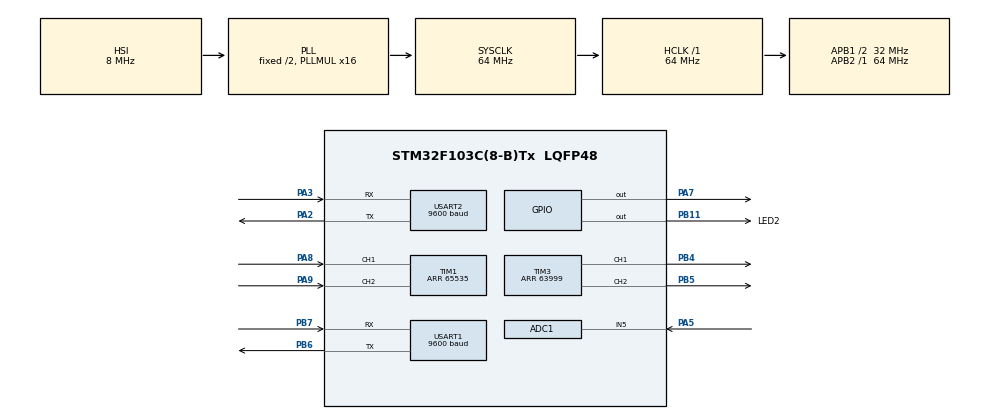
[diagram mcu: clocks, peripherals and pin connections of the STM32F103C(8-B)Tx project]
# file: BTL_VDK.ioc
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ADC1.Channel-0\#ChannelRegularConversion=ADC_CHANNEL_5
ADC1.NbrOfConversionFlag=1
ADC1.Rank-0\#ChannelRegularConversion=1
ADC1.SamplingTime-0\#ChannelRegularConversion=ADC_SAMPLETIME_1CYCLE_5
ADC1.master=1
Mcu.Family=STM32F1
Mcu.Name=STM32F103C(8-B)Tx
Mcu.Package=LQFP48
NVIC.PriorityGroup=NVIC_PRIORITYGROUP_4
NVIC.TIM1_BRK_IRQn=true\:0\:0\:false\:false\:true\:true\:true
NVIC.TIM1_CC_IRQn=true\:0\:0\:false\:false\:true\:true\:true
NVIC.TIM1_TRG_COM_IRQn=true\:0\:0\:false\:false\:true\:true\:true
NVIC.TIM1_UP_IRQn=true\:0\:0\:false\:false\:true\:true\:true
NVIC.TIM2_IRQn=true\:0\:0\:false\:false\:true\:true\:true
NVIC.TIM4_IRQn=true\:0\:0\:false\:false\:true\:true\:true
NVIC.USART2_IRQn=true\:0\:0\:false\:false\:true\:true\:true
PA13.Mode=Serial_Wire
PA13.Signal=SYS_JTMS-SWDIO
PA14.Mode=Serial_Wire
PA14.Signal=SYS_JTCK-SWCLK
PA2.Mode=Asynchronous
PA2.Signal=USART2_TX
PA3.Mode=Asynchronous
PA3.Signal=USART2_RX
PA5.Signal=ADCx_IN5
PA7.Signal=GPIO_Output
PA8.Signal=S_TIM1_CH1
PA9.Signal=S_TIM1_CH2
PB11.GPIO_Label=LED2
PB11.GPIO_PuPd=GPIO_PULLUP
PB11.Signal=GPIO_Output
PB4.Signal=S_TIM3_CH1
PB5.Signal=S_TIM3_CH2
PB6.Mode=Asynchronous
PB6.Signal=USART1_TX
PB7.Mode=Asynchronous
PB7.Signal=USART1_RX
PD0-OSC_IN.Mode=HSE-External-Oscillator
PD0-OSC_IN.Signal=RCC_OSC_IN
PD1-OSC_OUT.Mode=HSE-External-Oscillator
PD1-OSC_OUT.Signal=RCC_OSC_OUT
ProjectManager.HeapSize=0x200
ProjectManager.StackSize=0x400
ProjectManager.TargetToolchain=MDK-ARM V5
RCC.ADCPresc=RCC_ADCPCLK2_DIV8
RCC.AHBFreq_Value=64000000
RCC.APB1CLKDivider=RCC_HCLK_DIV2
RCC.APB1Freq_Value=32000000
RCC.APB1TimFreq_Value=64000000
RCC.APB2Freq_Value=64000000
RCC.APB2TimFreq_Value=64000000
RCC.HCLKFreq_Value=64000000
RCC.PLLMUL=RCC_PLL_MUL16
RCC.SYSCLKFreq_VALUE=64000000
RCC.SYSCLKSource=RCC_SYSCLKSOURCE_PLLCLK
RCC.USBFreq_Value=64000000
SH.ADCx_IN5.0=ADC1_IN5,IN5
SH.S_TIM1_CH1.0=TIM1_CH1,Encoder_Interface
SH.S_TIM1_CH2.0=TIM1_CH2,Encoder_Interface
SH.S_TIM3_CH1.0=TIM3_CH1,PWM Generation1 CH1
SH.S_TIM3_CH2.0=TIM3_CH2,PWM Generation2 CH2
TIM1.AutoReloadPreload=TIM_AUTORELOAD_PRELOAD_ENABLE
TIM1.IC1Filter=10
TIM1.IC2Filter=10
TIM1.Period=65535
TIM2.Period=63999
TIM2.Prescaler=99
TIM3.AutoReloadPreload=TIM_AUTORELOAD_PRELOAD_ENABLE
TIM3.Channel-PWM\ Generation1\ CH1=TIM_CHANNEL_1
TIM3.Channel-PWM\ Generation2\ CH2=TIM_CHANNEL_2
TIM3.Period=63999
TIM3.Pulse-PWM\ Generation1\ CH1=0
TIM3.Pulse-PWM\ Generation2\ CH2=0
TIM4.Period=63999
TIM4.Prescaler=999
USART1.BaudRate=9600
USART1.VirtualMode=VM_ASYNC
USART2.BaudRate=9600
USART2.VirtualMode=VM_ASYNC
VP_TIM2_VS_ClockSourceINT.Mode=Internal
VP_TIM3_VS_ClockSourceINT.Mode=Internal
VP_TIM4_VS_ClockSourceINT.Mode=Internal
board=custom

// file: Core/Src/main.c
/* USER CODE BEGIN Header */
/**
  ******************************************************************************
  * @file           : main.c
  * @brief          : Main program body
  ******************************************************************************
  * @attention
  *
  * <h2><center>&copy; Copyright (c) 2022 STMicroelectronics.
  * All rights reserved.</center></h2>
  *
  * This software component is licensed by ST under BSD 3-Clause license,
  * the "License"; You may not use this file except in compliance with the
  * License. You may obtain a copy of the License at:
  *                        opensource.org/licenses/BSD-3-Clause
  *
  ******************************************************************************
  */
/* USER CODE END Header */
#include "main.h"

ADC_HandleTypeDef hadc1;

TIM_HandleTypeDef htim1;
TIM_HandleTypeDef htim2;
TIM_HandleTypeDef htim3;
TIM_HandleTypeDef htim4;

UART_HandleTypeDef huart1;
UART_HandleTypeDef huart2;

void SystemClock_Config(void);
static void MX_GPIO_Init(void);
static void MX_ADC1_Init(void);
static void MX_TIM1_Init(void);
static void MX_TIM2_Init(void);
static void MX_TIM4_Init(void);
static void MX_USART1_UART_Init(void);
static void MX_USART2_UART_Init(void);
static void MX_TIM3_Init(void);

/* USER CODE BEGIN 0 */
extern LPF stLPF_Var;
extern QEI stQEI_Var;
extern QEI stQEI_Var1;
extern cPI PI_Speed,PI_Current,PI_position;
extern controller_objt controller_var;
extern adc_Objt adc_Objt_var;
extern RAMP st_RAMP_Var;
extern Uart_Obj vUart;

extern uint8_t timtick100ms,timtick1s;
/* USER CODE END 0 */

int main(void)
{

  /* MCU Configuration--------------------------------------------------------*/

  /* Reset of all peripherals, Initializes the Flash interface and the Systick. */
  HAL_Init();

  /* Configure the system clock */
  SystemClock_Config();

  /* Initialize all configured peripherals */
  MX_GPIO_Init();
  MX_ADC1_Init();
  MX_TIM1_Init();
  MX_TIM2_Init();
  MX_TIM4_Init();
  MX_USART1_UART_Init();
  MX_USART2_UART_Init();
  MX_TIM3_Init();
  /* USER CODE BEGIN 2 */

// khai bao cac bo PI
	PI_Init(&PI_Speed,0.5, 0.04,0.1,12,-12);
  PI_Init(&PI_position,5.0, 6.0,1.0,300,-300);
	Controller_Init(&controller_var);

// khai bАo bo loc thong thap
	vLPF_Init(&stLPF_Var, 10, 0.001);
	vQEI_Config(&stQEI_Var,0.1);

// khai bАo ham ramp
	vRamp_Config(&st_RAMP_Var);

// khai bao cac timer
  HAL_TIM_PWM_Start(&htim3,TIM_CHANNEL_1);
	HAL_TIM_PWM_Start(&htim3,TIM_CHANNEL_2);
	HAL_TIM_Base_Start_IT(&htim1);
  HAL_TIM_Base_Start_IT(&htim2);
	HAL_TIM_Base_Start_IT(&htim4);
	HAL_TIM_Encoder_Start(&htim1,TIM_CHANNEL_ALL);

// khai bao uart
	Uart_Init(&vUart);
  HAL_UART_Receive_IT(&huart2,&vUart.Rx_data,1);
  /* USER CODE END 2 */

  /* Infinite loop */
  while (1)
  {

    /* USER CODE BEGIN 3 */
		UART_SP();           // Truyen nhan du lieu

  if (timtick100ms==1)    // mach vong toc do
	{
		vRPM_Cal(&stQEI_Var);
		Speed_controller(&controller_var,&stQEI_Var);
    UART(&controller_var,&stQEI_Var);
		//reset
		timtick100ms=0;
	}
	if (timtick1s==1)     // mach vong vi tri
	{
		Position_controller(&controller_var,&stQEI_Var);
		//reset
		timtick1s=0;
	}
  }
  /* USER CODE END 3 */
}

void SystemClock_Config(void)
{
  RCC_OscInitTypeDef RCC_OscInitStruct = {0};
  RCC_ClkInitTypeDef RCC_ClkInitStruct = {0};
  RCC_PeriphCLKInitTypeDef PeriphClkInit = {0};

  /** Initializes the RCC Oscillators according to the specified parameters
  * in the RCC_OscInitTypeDef structure.
  */
  RCC_OscInitStruct.OscillatorType = RCC_OSCILLATORTYPE_HSI;
  RCC_OscInitStruct.HSIState = RCC_HSI_ON;
  RCC_OscInitStruct.HSICalibrationValue = RCC_HSICALIBRATION_DEFAULT;
  RCC_OscInitStruct.PLL.PLLState = RCC_PLL_ON;
  RCC_OscInitStruct.PLL.PLLSource = RCC_PLLSOURCE_HSI_DIV2;
  RCC_OscInitStruct.PLL.PLLMUL = RCC_PLL_MUL16;
  if (HAL_RCC_OscConfig(&RCC_OscInitStruct) != HAL_OK)
  {
    Error_Handler();
  }
  /** Initializes the CPU, AHB and APB buses clocks
  */
  RCC_ClkInitStruct.ClockType = RCC_CLOCKTYPE_HCLK|RCC_CLOCKTYPE_SYSCLK
                              |RCC_CLOCKTYPE_PCLK1|RCC_CLOCKTYPE_PCLK2;
  RCC_ClkInitStruct.SYSCLKSource = RCC_SYSCLKSOURCE_PLLCLK;
  RCC_ClkInitStruct.AHBCLKDivider = RCC_SYSCLK_DIV1;
  RCC_ClkInitStruct.APB1CLKDivider = RCC_HCLK_DIV2;
  RCC_ClkInitStruct.APB2CLKDivider = RCC_HCLK_DIV1;

  if (HAL_RCC_ClockConfig(&RCC_ClkInitStruct, FLASH_LATENCY_2) != HAL_OK)
  {
    Error_Handler();
  }
  PeriphClkInit.PeriphClockSelection = RCC_PERIPHCLK_ADC;
  PeriphClkInit.AdcClockSelection = RCC_ADCPCLK2_DIV8;
  if (HAL_RCCEx_PeriphCLKConfig(&PeriphClkInit) != HAL_OK)
  {
    Error_Handler();
  }
}

static void MX_ADC1_Init(void)
{

  ADC_ChannelConfTypeDef sConfig = {0};

  /** Common config
  */
  hadc1.Instance = ADC1;
  hadc1.Init.ScanConvMode = ADC_SCAN_DISABLE;
  hadc1.Init.ContinuousConvMode = DISABLE;
  hadc1.Init.DiscontinuousConvMode = DISABLE;
  hadc1.Init.ExternalTrigConv = ADC_SOFTWARE_START;
  hadc1.Init.DataAlign = ADC_DATAALIGN_RIGHT;
  hadc1.Init.NbrOfConversion = 1;
  if (HAL_ADC_Init(&hadc1) != HAL_OK)
  {
    Error_Handler();
  }
  /** Configure Regular Channel
  */
  sConfig.Channel = ADC_CHANNEL_5;
  sConfig.Rank = ADC_REGULAR_RANK_1;
  sConfig.SamplingTime = ADC_SAMPLETIME_1CYCLE_5;
  if (HAL_ADC_ConfigChannel(&hadc1, &sConfig) != HAL_OK)
  {
    Error_Handler();
  }

}

static void MX_TIM1_Init(void)
{

  TIM_Encoder_InitTypeDef sConfig = {0};
  TIM_MasterConfigTypeDef sMasterConfig = {0};

  htim1.Instance = TIM1;
  htim1.Init.Prescaler = 0;
  htim1.Init.CounterMode = TIM_COUNTERMODE_UP;
  htim1.Init.Period = 65535;
  htim1.Init.ClockDivision = TIM_CLOCKDIVISION_DIV1;
  htim1.Init.RepetitionCounter = 0;
  htim1.Init.AutoReloadPreload = TIM_AUTORELOAD_PRELOAD_ENABLE;
  sConfig.EncoderMode = TIM_ENCODERMODE_TI1;
  sConfig.IC1Polarity = TIM_ICPOLARITY_RISING;
  sConfig.IC1Selection = TIM_ICSELECTION_DIRECTTI;
  sConfig.IC1Prescaler = TIM_ICPSC_DIV1;
  sConfig.IC1Filter = 10;
  sConfig.IC2Polarity = TIM_ICPOLARITY_RISING;
  sConfig.IC2Selection = TIM_ICSELECTION_DIRECTTI;
  sConfig.IC2Prescaler = TIM_ICPSC_DIV1;
  sConfig.IC2Filter = 10;
  if (HAL_TIM_Encoder_Init(&htim1, &sConfig) != HAL_OK)
  {
    Error_Handler();
  }
  sMasterConfig.MasterOutputTrigger = TIM_TRGO_RESET;
  sMasterConfig.MasterSlaveMode = TIM_MASTERSLAVEMODE_DISABLE;
  if (HAL_TIMEx_MasterConfigSynchronization(&htim1, &sMasterConfig) != HAL_OK)
  {
    Error_Handler();
  }

}

static void MX_TIM2_Init(void)
{

  TIM_ClockConfigTypeDef sClockSourceConfig = {0};
  TIM_MasterConfigTypeDef sMasterConfig = {0};

  htim2.Instance = TIM2;
  htim2.Init.Prescaler = 99;
  htim2.Init.CounterMode = TIM_COUNTERMODE_UP;
  htim2.Init.Period = 63999;
  htim2.Init.ClockDivision = TIM_CLOCKDIVISION_DIV1;
  htim2.Init.AutoReloadPreload = TIM_AUTORELOAD_PRELOAD_DISABLE;
  if (HAL_TIM_Base_Init(&htim2) != HAL_OK)
  {
    Error_Handler();
  }
  sClockSourceConfig.ClockSource = TIM_CLOCKSOURCE_INTERNAL;
  if (HAL_TIM_ConfigClockSource(&htim2, &sClockSourceConfig) != HAL_OK)
  {
    Error_Handler();
  }
  sMasterConfig.MasterOutputTrigger = TIM_TRGO_RESET;
  sMasterConfig.MasterSlaveMode = TIM_MASTERSLAVEMODE_DISABLE;
  if (HAL_TIMEx_MasterConfigSynchronization(&htim2, &sMasterConfig) != HAL_OK)
  {
    Error_Handler();
  }

}

static void MX_TIM3_Init(void)
{

  TIM_ClockConfigTypeDef sClockSourceConfig = {0};
  TIM_MasterConfigTypeDef sMasterConfig = {0};
  TIM_OC_InitTypeDef sConfigOC = {0};

  htim3.Instance = TIM3;
  htim3.Init.Prescaler = 0;
  htim3.Init.CounterMode = TIM_COUNTERMODE_UP;
  htim3.Init.Period = 63999;
  htim3.Init.ClockDivision = TIM_CLOCKDIVISION_DIV1;
  htim3.Init.AutoReloadPreload = TIM_AUTORELOAD_PRELOAD_ENABLE;
  if (HAL_TIM_Base_Init(&htim3) != HAL_OK)
  {
    Error_Handler();
  }
  sClockSourceConfig.ClockSource = TIM_CLOCKSOURCE_INTERNAL;
  if (HAL_TIM_ConfigClockSource(&htim3, &sClockSourceConfig) != HAL_OK)
  {
    Error_Handler();
  }
  if (HAL_TIM_PWM_Init(&htim3) != HAL_OK)
  {
    Error_Handler();
  }
  sMasterConfig.MasterOutputTrigger = TIM_TRGO_RESET;
  sMasterConfig.MasterSlaveMode = TIM_MASTERSLAVEMODE_DISABLE;
  if (HAL_TIMEx_MasterConfigSynchronization(&htim3, &sMasterConfig) != HAL_OK)
  {
    Error_Handler();
  }
  sConfigOC.OCMode = TIM_OCMODE_PWM1;
  sConfigOC.Pulse = 0;
  sConfigOC.OCPolarity = TIM_OCPOLARITY_HIGH;
  sConfigOC.OCFastMode = TIM_OCFAST_DISABLE;
  if (HAL_TIM_PWM_ConfigChannel(&htim3, &sConfigOC, TIM_CHANNEL_1) != HAL_OK)
  {
    Error_Handler();
  }
  if (HAL_TIM_PWM_ConfigChannel(&htim3, &sConfigOC, TIM_CHANNEL_2) != HAL_OK)
  {
    Error_Handler();
  }
  HAL_TIM_MspPostInit(&htim3);

}

static void MX_TIM4_Init(void)
{

  TIM_ClockConfigTypeDef sClockSourceConfig = {0};
  TIM_MasterConfigTypeDef sMasterConfig = {0};

  htim4.Instance = TIM4;
  htim4.Init.Prescaler = 999;
  htim4.Init.CounterMode = TIM_COUNTERMODE_UP;
  htim4.Init.Period = 63999;
  htim4.Init.ClockDivision = TIM_CLOCKDIVISION_DIV1;
  htim4.Init.AutoReloadPreload = TIM_AUTORELOAD_PRELOAD_DISABLE;
  if (HAL_TIM_Base_Init(&htim4) != HAL_OK)
  {
    Error_Handler();
  }
  sClockSourceConfig.ClockSource = TIM_CLOCKSOURCE_INTERNAL;
  if (HAL_TIM_ConfigClockSource(&htim4, &sClockSourceConfig) != HAL_OK)
  {
    Error_Handler();
  }
  sMasterConfig.MasterOutputTrigger = TIM_TRGO_RESET;
  sMasterConfig.MasterSlaveMode = TIM_MASTERSLAVEMODE_DISABLE;
  if (HAL_TIMEx_MasterConfigSynchronization(&htim4, &sMasterConfig) != HAL_OK)
  {
    Error_Handler();
  }

}

static void MX_USART1_UART_Init(void)
{

  huart1.Instance = USART1;
  huart1.Init.BaudRate = 9600;
  huart1.Init.WordLength = UART_WORDLENGTH_8B;
  huart1.Init.StopBits = UART_STOPBITS_1;
  huart1.Init.Parity = UART_PARITY_NONE;
  huart1.Init.Mode = UART_MODE_TX_RX;
  huart1.Init.HwFlowCtl = UART_HWCONTROL_NONE;
  huart1.Init.OverSampling = UART_OVERSAMPLING_16;
  if (HAL_UART_Init(&huart1) != HAL_OK)
  {
    Error_Handler();
  }

}

static void MX_USART2_UART_Init(void)
{

  huart2.Instance = USART2;
  huart2.Init.BaudRate = 9600;
  huart2.Init.WordLength = UART_WORDLENGTH_8B;
  huart2.Init.StopBits = UART_STOPBITS_1;
  huart2.Init.Parity = UART_PARITY_NONE;
  huart2.Init.Mode = UART_MODE_TX_RX;
  huart2.Init.HwFlowCtl = UART_HWCONTROL_NONE;
  huart2.Init.OverSampling = UART_OVERSAMPLING_16;
  if (HAL_UART_Init(&huart2) != HAL_OK)
  {
    Error_Handler();
  }

}

static void MX_GPIO_Init(void)
{
  GPIO_InitTypeDef GPIO_InitStruct = {0};

  /* GPIO Ports Clock Enable */
  __HAL_RCC_GPIOD_CLK_ENABLE();
  __HAL_RCC_GPIOA_CLK_ENABLE();
  __HAL_RCC_GPIOB_CLK_ENABLE();

  /*Configure GPIO pin Output Level */
  HAL_GPIO_WritePin(GPIOA, GPIO_PIN_7, GPIO_PIN_RESET);

  /*Configure GPIO pin Output Level */
  HAL_GPIO_WritePin(LED2_GPIO_Port, LED2_Pin, GPIO_PIN_RESET);

  /*Configure GPIO pin : PA7 */
  GPIO_InitStruct.Pin = GPIO_PIN_7;
  GPIO_InitStruct.Mode = GPIO_MODE_OUTPUT_PP;
  GPIO_InitStruct.Pull = GPIO_NOPULL;
  GPIO_InitStruct.Speed = GPIO_SPEED_FREQ_LOW;
  HAL_GPIO_Init(GPIOA, &GPIO_InitStruct);

  /*Configure GPIO pin : LED2_Pin */
  GPIO_InitStruct.Pin = LED2_Pin;
  GPIO_InitStruct.Mode = GPIO_MODE_OUTPUT_PP;
  GPIO_InitStruct.Pull = GPIO_PULLUP;
  GPIO_InitStruct.Speed = GPIO_SPEED_FREQ_LOW;
  HAL_GPIO_Init(LED2_GPIO_Port, &GPIO_InitStruct);

}

void Error_Handler(void)
{
  __disable_irq();
  while (1)
  {
  }
}
